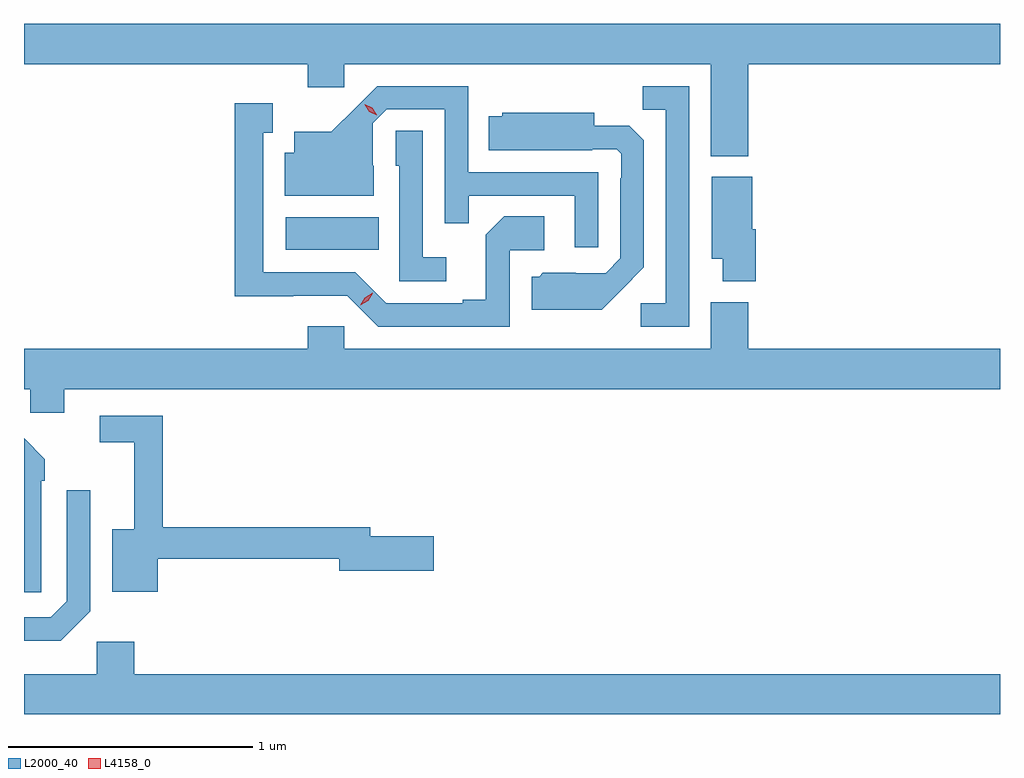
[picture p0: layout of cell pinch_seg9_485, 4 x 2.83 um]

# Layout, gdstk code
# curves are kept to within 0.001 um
import gdstk
lib = gdstk.Library(unit=1e-6, precision=1e-09)
def R(c, l, rs):  # rectangles x0, y0, x1, y1
    for r in rs: c.add(gdstk.rectangle(r[:2], r[2:], *l))
def P(c, l, *ps):  # polygons
    for p in ps: c.add(gdstk.Polygon(p, *l))
L2000_40 = (2000, 40)
L4158_0 = (4158, 0)

pinch_seg9_485 = lib.new_cell('pinch_seg9_485')
R(pinch_seg9_485, L2000_40, [(314.088,1200.986,314.468,1201.12)])
P(pinch_seg9_485, L2000_40, [(315.983,1201.748),(317.015,1201.748),(317.015,1201.912),(313.015,1201.912),(313.015,1201.748),(314.177,1201.748),(314.177,1201.653),(314.328,1201.653),(314.328,1201.748),(315.83,1201.748),(315.83,1201.37),(315.983,1201.37)],
  [(315.369,1201.305),(314.835,1201.305),(314.835,1201.656),(314.462,1201.656),(314.275,1201.471),(314.123,1201.471),(314.123,1201.384),(314.084,1201.384),(314.084,1201.208),(314.449,1201.208),(314.449,1201.332),(314.445,1201.332),(314.445,1201.506),(314.502,1201.563),(314.739,1201.563),(314.739,1201.096),(314.837,1201.096),(314.837,1201.209),(315.273,1201.209),(315.273,1200.996),(315.369,1200.996)],
  [(315.741,1201.656),(315.55,1201.656),(315.55,1201.561),(315.645,1201.561),(315.645,1200.768),(315.543,1200.768),(315.543,1200.672),(315.741,1200.672)],
  [(315.006,1200.984),(315.148,1200.984),(315.148,1201.124),(314.983,1201.124),(314.907,1201.048),(314.907,1200.781),(314.813,1200.781),(314.813,1200.768),(314.499,1200.768),(314.373,1200.894),(313.996,1200.894),(313.996,1201.467),(314.035,1201.467),(314.035,1201.588),(313.878,1201.588),(313.878,1200.797),(314.34,1200.798),(314.466,1200.672),(315.006,1200.672)],
  [(315.463,1200.821),(315.555,1200.914),(315.555,1201.436),(315.496,1201.495),(315.352,1201.495),(315.352,1201.549),(314.976,1201.549),(314.976,1201.534),(314.92,1201.534),(314.92,1201.394),(315.344,1201.394),(315.344,1201.398),(315.444,1201.398),(315.462,1201.38),(315.462,1201.28),(315.459,1201.28),(315.459,1200.951),(315.399,1200.891),(315.142,1200.892),(315.126,1200.876),(315.095,1200.876),(315.095,1200.74),(315.383,1200.74)],
  [(314.746,1200.955),(314.649,1200.955),(314.649,1201.475),(314.538,1201.475),(314.538,1201.332),(314.553,1201.332),(314.553,1200.858),(314.746,1200.858)],
  [(316.013,1201.071),(316,1201.071),(316,1201.285),(315.833,1201.285),(315.833,1200.95),(315.878,1200.95),(315.878,1200.857),(316.013,1200.857)],
  [(313.18,1200.416),(317.015,1200.416),(317.015,1200.58),(315.983,1200.58),(315.983,1200.772),(315.83,1200.772),(315.83,1200.58),(314.328,1200.58),(314.328,1200.673),(314.177,1200.673),(314.177,1200.58),(313.015,1200.58),(313.015,1200.416),(313.041,1200.416),(313.041,1200.318),(313.18,1200.318)],
  [(313.564,1199.721),(314.306,1199.721),(314.306,1199.671),(314.695,1199.671),(314.695,1199.813),(314.434,1199.813),(314.434,1199.849),(313.583,1199.849),(313.583,1200.306),(313.326,1200.306),(313.326,1200.198),(313.466,1200.198),(313.466,1199.842),(313.376,1199.842),(313.376,1199.585),(313.564,1199.585)],
  [(313.086,1200.041),(313.101,1200.041),(313.101,1200.129),(313.015,1200.215),(313.015,1199.583),(313.086,1199.583)],
  [(313.287,1199.505),(313.287,1200.001),(313.191,1200.001),(313.191,1199.547),(313.125,1199.481),(313.015,1199.481),(313.015,1199.384),(313.166,1199.384)],
  [(317.015,1199.248),(313.466,1199.248),(313.466,1199.38),(313.314,1199.38),(313.314,1199.248),(313.015,1199.248),(313.015,1199.084),(317.015,1199.084)])
P(pinch_seg9_485, L4158_0, [(314.461,1201.538),(314.43,1201.553),(314.412,1201.582),(314.412,1201.583),(314.412,1201.583),(314.443,1201.568),(314.461,1201.539),(314.461,1201.538)],
  [(314.394,1200.759),(314.394,1200.759),(314.412,1200.791),(314.444,1200.81),(314.444,1200.81),(314.444,1200.809),(314.426,1200.777),(314.394,1200.759)])

lib.write_gds('pinch_seg9_485.gds')
